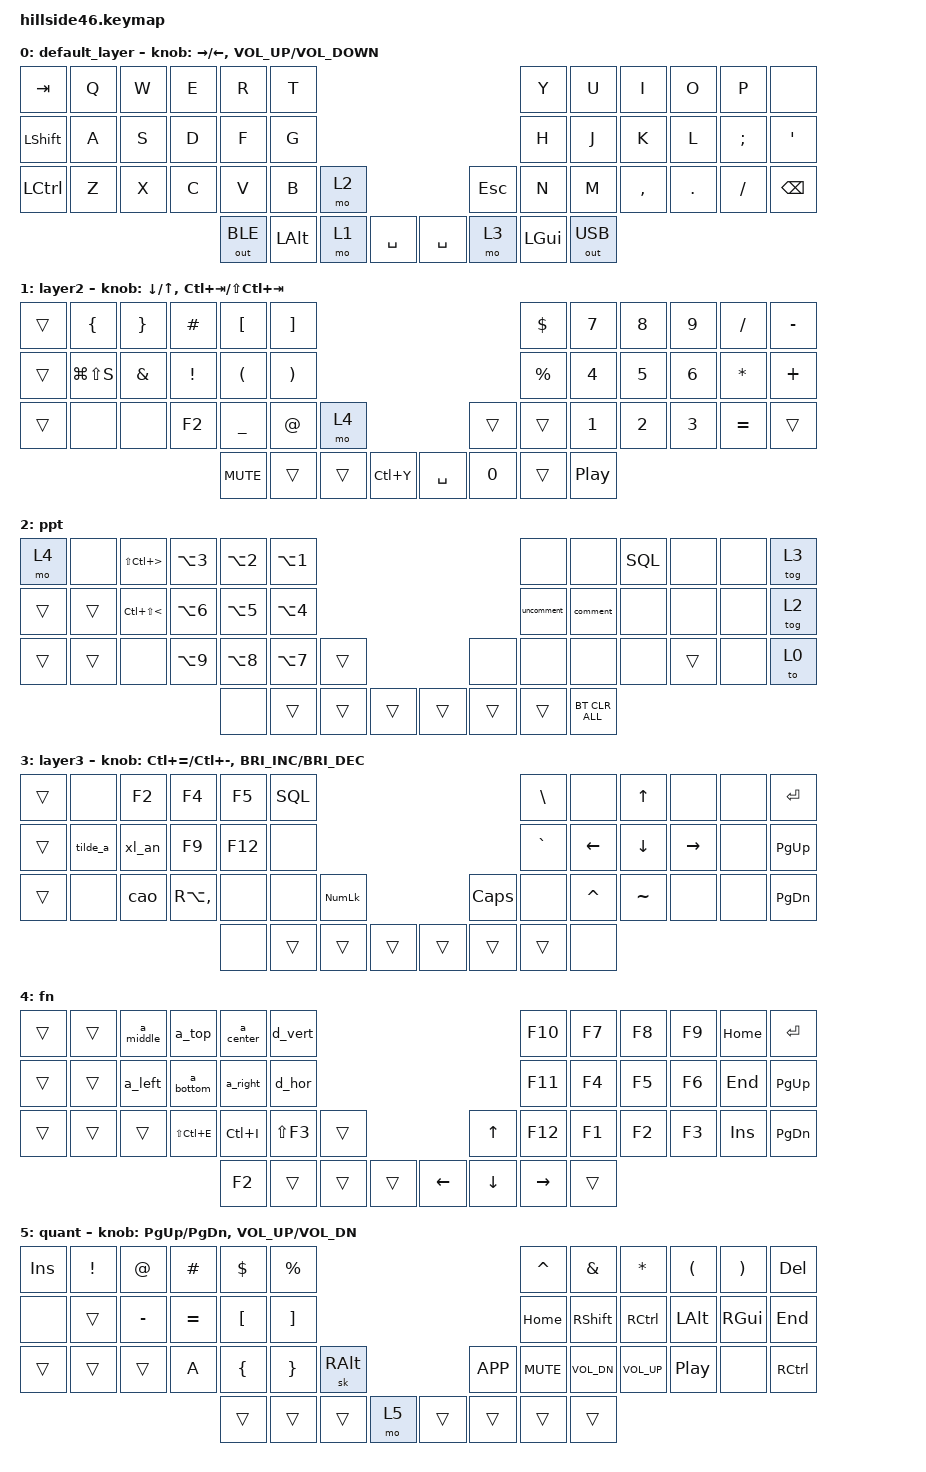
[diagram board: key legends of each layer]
/*
 * Copyright (c) 2021-2022 The ZMK Contributors
 *
 * SPDX-License-Identifier: MIT
 */

#include <behaviors.dtsi>
#include <dt-bindings/zmk/bt.h>
#include <dt-bindings/zmk/keys.h>
#include <dt-bindings/zmk/outputs.h>

#define QWERTY_L 0
#define DVORAK_L 1
#define COLEMK_L 2
#define NAV_L    3
#define SYM_L    4
#define ADJ_L    5
#define Undo   LC(Z)
#define Cut    LC(X)
#define Copy   LC(C)
#define Paste  LC(V)
#define Redo   LC(Y)

/ {
    combos {
        compatible = "zmk,combos";

        Layer3 {
            bindings = <&kp K_POWER>;
            key-positions = <38 45>;
        };

        cedilha {
            bindings = <&kp RA(COMMA)>;
            key-positions = <40 27>;
        };

        tilde_a {
            bindings = <&tilde_a>;
            key-positions = <43 13>;
        };

        tilde_o {
            bindings = <&tilde_o>;
            key-positions = <43 9>;
        };

        cao {
            bindings = <&cao>;
            key-positions = <43 26>;
        };

        cedilha2 {
            bindings = <&kp RA(COMMA)>;
            key-positions = <27 43>;
        };

        tilde_a2 {
            bindings = <&tilde_a>;
            key-positions = <13 40>;
        };

        tilde_o2 {
            bindings = <&tilde_o>;
            key-positions = <9 40>;
        };

        cao2 {
            bindings = <&cao>;
            key-positions = <26 40>;
        };

        enter {
            bindings = <&kp ENTER>;
            key-positions = <43 11>;
        };

        par {
            bindings = <&par>;
            key-positions = <40 16>;
        };

        brac {
            bindings = <&brac>;
            key-positions = <40 4>;
        };

        braces {
            bindings = <&brace>;
            key-positions = <40 1>;
        };

        ag {
            bindings = <&ag>;
            key-positions = <43 18>;
        };

        circ {
            bindings = <&circ>;
            key-positions = <43 33>;
        };

        enter2 {
            bindings = <&kp ENTER>;
            key-positions = <40 0>;
        };

        esc {
            bindings = <&kp ESCAPE>;
            key-positions = <39 29>;
        };

        esc2 {
            bindings = <&kp ESCAPE>;
            key-positions = <44 32>;
        };

        del {
            bindings = <&kp DEL>;
            key-positions = <40 39>;
        };

        backspace {
            bindings = <&kp BACKSPACE>;
            key-positions = <40 41>;
        };

        p1 {
            bindings = <&p1>;
            key-positions = <30 41 40 39>;
        };

        p2 {
            bindings = <&p2>;
            key-positions = <0 12 24 41 40>;
        };
    };

    macros {
        tilde_a: cedilha2 {
            compatible = "zmk,behavior-macro";
            #binding-cells = <0>;
            bindings = <&kp TILDE>, <&macro_wait_time 1>, <&kp A>;

            label = "CEDILHA2";
        };

        tilde_o: tilde_o {
            compatible = "zmk,behavior-macro";
            #binding-cells = <0>;
            bindings = <&kp TILDE>, <&macro_tap>, <&kp O>;

            label = "TILDE_O";
        };

        cao: cao {
            compatible = "zmk,behavior-macro";
            #binding-cells = <0>;
            bindings = <&kp RA(COMMA)>, <&macro_tap>, <&tilde_a>;

            label = "CAO";
        };

        circ: circ {
            compatible = "zmk,behavior-macro";
            #binding-cells = <0>;
            bindings = <&kp CARET>, <&macro_tap>, <&kp E>;

            label = "CIRC";
        };

        ag: ag {
            compatible = "zmk,behavior-macro";
            #binding-cells = <0>;
            bindings = <&kp GRAVE>, <&macro_tap>, <&kp A>;

            label = "AG";
        };

        par: par {
            compatible = "zmk,behavior-macro";
            #binding-cells = <0>;
            bindings =
                <&kp LEFT_PARENTHESIS>,
                <&macro_tap>,
                <&kp RIGHT_PARENTHESIS>,
                <&macro_tap>,
                <&kp LEFT>;

            label = "PAR";
        };

        brac: brac {
            compatible = "zmk,behavior-macro";
            #binding-cells = <0>;
            bindings =
                <&kp LEFT_BRACKET>,
                <&macro_tap>,
                <&kp RIGHT_BRACKET>,
                <&macro_tap>,
                <&kp LEFT_ARROW>;

            label = "BRAC";
        };

        brace: brace {
            compatible = "zmk,behavior-macro";
            #binding-cells = <0>;
            bindings =
                <&kp LEFT_BRACE>,
                <&macro_tap>,
                <&kp RIGHT_BRACE>,
                <&macro_tap>,
                <&kp LEFT_ARROW>;

            label = "BRACE";
        };

        SQL: SQL {
            compatible = "zmk,behavior-macro";
            #binding-cells = <0>;
            bindings = <&kp LS(S) &kp LS(E) &kp LS(L) &kp LS(E) &kp LS(C) &kp LS(T) &kp RET &kp STAR &kp RET &kp LS(F) &kp LS(R) &kp LS(O) &kp LS(M)>;
            label = "SQL";
        };

        comment: comment {
            compatible = "zmk,behavior-macro";
            #binding-cells = <0>;
            bindings = <&kp LC(K) &kp LC(C)>;
            label = "comment";
        };

        uncomment: uncomment {
            compatible = "zmk,behavior-macro";
            #binding-cells = <0>;
            bindings = <&kp LC(K) &kp LC(U)>;
            label = "UNCOMMENT";
        };

        p1: p1 {
            compatible = "zmk,behavior-macro";
            #binding-cells = <0>;
            bindings = <&kp N2 &kp N9 &kp N0 &kp N9 &kp N6 &kp N7>;
            label = "P1";
        };

        a_top: a_top {
            compatible = "zmk,behavior-macro";
            #binding-cells = <0>;
            bindings = <&kp LA(NUMBER_2) &kp A &kp T>;
            label = "A_TOP";
        };

        a_bottom: a_bottom {
            compatible = "zmk,behavior-macro";
            #binding-cells = <0>;
            bindings = <&kp LA(NUMBER_2) &kp A &kp B>;
            label = "A_BOTTOM";
        };

        a_left: a_left {
            compatible = "zmk,behavior-macro";
            #binding-cells = <0>;
            bindings = <&kp LA(NUMBER_2) &kp A &kp L>;
            label = "A_LEFT";
        };

        a_right: a_right {
            compatible = "zmk,behavior-macro";
            #binding-cells = <0>;
            bindings = <&kp LA(NUMBER_2) &kp A &kp R>, <&macro_press>;

            label = "A_RIGHT";
        };

        a_middle: a_middle {
            compatible = "zmk,behavior-macro";
            #binding-cells = <0>;
            bindings = <&kp LA(NUMBER_2) &kp A &kp M>;
            label = "A_MIDDLE";
        };

        a_center: a_center {
            compatible = "zmk,behavior-macro";
            #binding-cells = <0>;
            bindings = <&kp LA(NUMBER_2) &kp A &kp C>;
            label = "A_CENTER";
        };

        d_vert: d_vert {
            compatible = "zmk,behavior-macro";
            #binding-cells = <0>;
            bindings = <&kp LA(NUMBER_2) &kp A &kp V>;
            label = "D_VERT";
        };

        d_hor: d_hor {
            compatible = "zmk,behavior-macro";
            #binding-cells = <0>;
            bindings = <&kp LA(NUMBER_2) &kp A &kp H>;
            label = "D_HOR";
        };

        p2: p2 {
            compatible = "zmk,behavior-macro";
            #binding-cells = <0>;
            bindings = <&kp UNDER &kp LS(P) &kp C &kp X &kp G &kp H &kp LS(S) &kp N1 &kp N2 &kp N8 &kp N0>;
            label = "P2";
        };

        xl_an: xl_an {
            compatible = "zmk,behavior-macro";
            #binding-cells = <0>;
            bindings = <&kp LA(NUMBER_2) &kp A &kp N>;
            label = "XL_AN";
        };
    };

    behaviors {
        d_fix: d_fix {
            compatible = "zmk,behavior-tap-dance";
            label = "D_FIX";
            #binding-cells = <0>;
            bindings = <&kp D>, <&kp D>, <&kp D>, <&kp D>;

            tapping-term-ms = <250>;
        };
    };

    keymap {
        compatible = "zmk,keymap";

        default_layer {
            /* QWERTY
 * -------------------------------------------------------------------------------------------------------------------------------------
 * | `     |   Q   |   W   |   E   |   R   |   T   |-----------------------------------|   Y   |   U   |   I   |   O   |   P   | BKSPC |
 * | TAB   |   A   |   S   |   D   |   F   |   G   |-----------------------------------|   H   |   J   |   K   |   L   |   ;   | ENTER |
 * | CTRL  |   Z   |   X   |   C   |   V   |   B   |  ESC  |-------------------|  CAPS |   N   |   M   |   ,   |   .   |   /   |   '   |
 *                                 |  GUI  |  ALT  |SK SHFT|  Nav  |---|  Sym  | SPACE |  ALT  |  GUI  |
 */

            bindings = <
&kp TAB         &kp Q  &kp W  &kp E  &kp R         &kp T                                                    &kp Y         &kp U         &kp I      &kp O    &kp P      &none
&kp LEFT_SHIFT  &kp A  &kp S  &kp D  &kp F         &kp G                                                    &kp H         &kp J         &kp K      &kp L    &kp SEMI   &kp SINGLE_QUOTE
&kp LCTRL       &kp Z  &kp X  &kp C  &kp V         &kp B         &mo 2                          &kp ESCAPE  &kp N         &kp M         &kp COMMA  &kp DOT  &kp SLASH  &kp BACKSPACE
                                     &out OUT_BLE  &kp LEFT_ALT  &mo 1  &kp SPACE    &kp SPACE  &mo 3       &kp LEFT_GUI  &out OUT_USB
            >;

            sensor-bindings =
                <&inc_dec_kp RIGHT LEFT>,
                <&inc_dec_kp C_VOLUME_UP C_VOLUME_DOWN>;
        };

        layer2 {
            /* DVORAK
 * -------------------------------------------------------------------------------------------------------------------------------------
 * | `     |   '   |   ,   |   .   |   P   |   Y   |-----------------------------------|   F   |   G   |   C   |   R   |   L   | BKSPC |
 * | TAB   |   A   |   O   |   E   |   U   |   I   |-----------------------------------|   D   |   H   |   T   |   N   |   S   | ENTER |
 * | CTRL  |   ;   |   Q   |   J   |   K   |   X   |  ESC  |-------------------| CAPS  |   B   |   M   |   W   |   V   |   Z   |   /   |
 *                                 |  GUI  |  ALT  |SK SHFT|  Nav  |---|  Sym  | SPACE |  ALT  |  GUI  |
 */

            bindings = <
&trans  &kp LEFT_BRACE  &kp RIGHT_BRACE  &kp HASH         &kp LEFT_BRACKET      &kp RIGHT_BRACKET                                                    &kp DOLLAR   &kp NUMBER_7      &kp NUMBER_8  &kp NUMBER_9  &kp SLASH     &kp MINUS
&trans  &kp LG(LS(S))   &kp AMPERSAND    &kp EXCLAMATION  &kp LEFT_PARENTHESIS  &kp RIGHT_PARENTHESIS                                                &kp PERCENT  &kp NUMBER_4      &kp NUMBER_5  &kp NUMBER_6  &kp ASTERISK  &kp PLUS
&trans  &none           &none            &kp F2           &kp UNDERSCORE        &kp AT_SIGN            &mo 4                           &trans        &trans       &kp NUMBER_1      &kp NUMBER_2  &kp NUMBER_3  &kp EQUAL     &trans
                                                          &kp K_MUTE            &trans                 &trans  &kp LC(Y)    &kp SPACE  &kp NUMBER_0  &trans       &kp C_PLAY_PAUSE
            >;

            sensor-bindings =
                <&inc_dec_kp DOWN_ARROW UP_ARROW>,
                <&inc_dec_kp LC(TAB) LS(LC(TAB))>;
        };

        ppt {
            /* NAV   
 * -------------------------------------------------------------------------------------------------------------------------------------
 * | Copy  |   1   |   2   |   3   |   4   |   5   |-----------------------------------|   6   |   7   |   8   |   9   |   0   | BSPC  |
 * | Cut   |  GUI  |  Alt  | Ctrl  | Shift | Paste |-----------------------------------| PG UP |  Left |  Up   |  Down | Right | PG DN |
 * | Ctrl  |  F1   |  F2   |  F3   |  F4   |  F5   |  UnDo |-------------------| ReDo  |  F6   |  F7   |  F8   |  F9   |  F10  | Ctrl  |
 *                                 |       |       |       |       |---| ADJ_L |       |       |       |
 */

            bindings = <
&mo 4   &none   &kp LS(LC(GREATER_THAN))  &kp LA(NUMBER_3)  &kp LA(NUMBER_2)  &kp LA(NUMBER_1)                                    &none       &none           &SQL   &none   &none  &tog 3
&trans  &trans  &kp LC(LS(LESS_THAN))     &kp LA(NUMBER_6)  &kp LA(NUMBER_5)  &kp LA(NUMBER_4)                                    &uncomment  &comment        &none  &none   &none  &tog 2
&trans  &trans  &none                     &kp LA(NUMBER_9)  &kp LA(NUMBER_8)  &kp LA(NUMBER_7)  &trans                    &none   &none       &none           &none  &trans  &none  &to 0
                                                            &none             &trans            &trans  &trans    &trans  &trans  &trans      &bt BT_CLR_ALL
            >;
        };

        layer3 {
            /* COLEMAK-DH
 * -------------------------------------------------------------------------------------------------------------------------------------
 * | `     |   Q   |   W   |   F   |   P   |   B   |-----------------------------------|   J   |   L   |   U   |   Y   |   ;   | BKSPC |
 * | TAB   |   A   |   R   |   S   |   T   |   G   |-----------------------------------|   M   |   N   |   E   |   I   |   O   | ENTER |
 * | CTRL  |   Z   |   X   |   C   |   D   |   V   |  ESC  |-------------------| CAPS  |   K   |   H   |   ,   |   .   |   /   |   '   |
 *                                 |  GUI  |  ALT  |SK SHFT|  Nav  |---|  Sym  | SPACE |  ALT  |  GUI  |
 */

            bindings = <
&trans  &none     &kp F2  &kp F4         &kp F5   &SQL                                                &kp BACKSLASH  &none           &kp UP_ARROW    &none            &none  &kp ENTER
&trans  &tilde_a  &xl_an  &kp F9         &kp F12  &none                                               &kp GRAVE      &kp LEFT_ARROW  &kp DOWN_ARROW  &kp RIGHT_ARROW  &none  &kp PAGE_UP
&trans  &none     &cao    &kp RA(COMMA)  &none    &none   &kp KP_NUMLOCK                    &kp CAPS  &none          &kp CARET       &kp TILDE       &none            &none  &kp PAGE_DOWN
                                         &none    &trans  &trans          &trans    &trans  &trans    &trans         &none
            >;

            sensor-bindings =
                <&inc_dec_kp LC(EQUAL) LC(MINUS)>,
                <&inc_dec_kp C_BRIGHTNESS_INC C_BRIGHTNESS_DEC>;
        };

        fn {
            /* ADJUST
 * -------------------------------------------------------------------------------------------------------------------------------------
 * |       | QWERTY| DVORAK| COLEMK|       |       |-----------------------------------|       |  F11  |  F12  |Prt Scr|EP_OFF | EP_ON |
 * | RESET | BT 0  | BT 1  | BT 2  | BT 3  | BT 4  |-----------------------------------|       |       |       |       |       | RESET |
 * |       | LGUI  | LALT  | LCTRL | LSHIFT|       |BT CLR |-------------------|       |       |       |OUT_USB|OUT_BLE|       | BOOTL |
 *                                 |       |       |       |       |---|       |       |       |       |
 */

            bindings = <
&trans  &trans  &a_middle  &a_top         &a_center  &d_vert                                                       &kp F10          &kp F7  &kp F8  &kp F9  &kp HOME    &kp ENTER
&trans  &trans  &a_left    &a_bottom      &a_right   &d_hor                                                        &kp F11          &kp F4  &kp F5  &kp F6  &kp END     &kp PAGE_UP
&trans  &trans  &trans     &kp LS(LC(E))  &kp LC(I)  &kp LS(F3)  &trans                            &kp UP_ARROW    &kp F12          &kp F1  &kp F2  &kp F3  &kp INSERT  &kp PAGE_DOWN
                                          &kp F2     &trans      &trans  &trans    &kp LEFT_ARROW  &kp DOWN_ARROW  &kp RIGHT_ARROW  &trans
            >;
        };

        quant {
            /* SYM
 * -------------------------------------------------------------------------------------------------------------------------------------
 * | INS   |   !   |   @   |   #   |   $   |   %   |-----------------------------------|   ^   |   &   |   *   |   (   |   )   | BSPC  |
 * |       |   \   |   -   |   =   |   [   |   ]   |-----------------------------------| HOME  | Shift | Ctrl  | Alt   | Gui   | END   |
 * | Ctrl  |   |   |   _   |   +   |   {   |   }   |SkAltGr|-------------------| MENU  | Mute  | Vol-  | Vol+  | Play  |       | Ctrl  |
 *                                 |       |       |       |  ADJ_L |---|      |       |       |       |
 */

            bindings = <
&kp INS  &kp EXCL  &kp AT     &kp HASH   &kp DOLLAR  &kp PERCENT                                        &kp CARET   &kp AMPS      &kp ASTRK     &kp LPAR  &kp RPAR  &kp DEL
&none    &trans    &kp MINUS  &kp EQUAL  &kp LBKT    &kp RBKT                                           &kp HOME    &kp RSHFT     &kp RCTRL     &kp LALT  &kp RGUI  &kp END
&trans   &trans    &trans     &kp A      &kp LBRC    &kp RBRC     &sk RALT                   &kp K_APP  &kp C_MUTE  &kp C_VOL_DN  &kp C_VOL_UP  &kp C_PP  &none     &kp RCTRL
                                         &trans      &trans       &trans    &mo 5    &trans  &trans     &trans      &trans
            >;

            sensor-bindings = <&inc_dec_kp PG_UP PG_DN &inc_dec_kp C_VOL_UP C_VOL_DN>;
        };
    };
};
